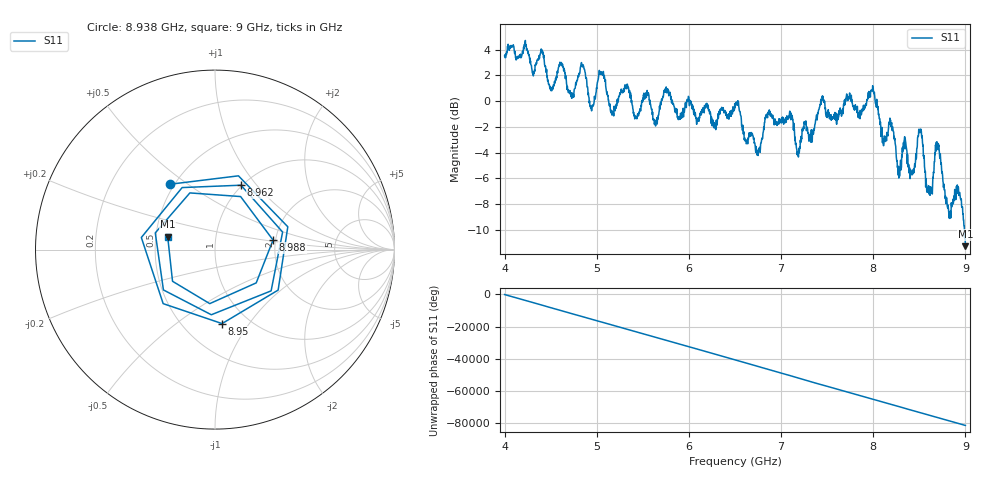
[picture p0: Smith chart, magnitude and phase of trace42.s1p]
! Created with skrf 1.8.0 (http://scikit-rf.org).
# Hz S RI R 50.0
!freq ReS11 ImS11
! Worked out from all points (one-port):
!   1601 points, 4 GHz to 9 GHz, reference 50 ohm
!   lowest |S11| = -11.3 dB at 9 GHz (marker M1), VSWR 1.75, Z = 28.9 + j4.5 ohm
!   |S11| at or under -10 dB: 8.989025 GHz to end of sweep
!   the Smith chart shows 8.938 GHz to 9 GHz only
!   S11 on the Smith chart (normalised r, x): 8.938 GHz: 0.47, +0.43; 8.95 GHz: 0.76, -0.75; 8.962 GHz: 0.99, +0.83; 8.988 GHz: 1.94, +0.23; 9 GHz: 0.58, +0.09
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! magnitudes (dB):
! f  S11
! 4 GHz  3.5
! 4.625 GHz  2.7
! 4.728 GHz  0.2
! 4.85 GHz  2.7
! 4.944 GHz  -0.8
! 5.047 GHz  2.2
! 5.159 GHz  -0.7
! 5.25 GHz  0.7
! 5.875 GHz  -1.3
! 6.5 GHz  -0.5
! 6.747 GHz  -3.9
! 6.856 GHz  -0.9
! 7.125 GHz  -1.4
! 7.181 GHz  -4.2
! 7.447 GHz  0.4
! 7.75 GHz  0.3
! 7.991 GHz  0.8
! 8.109 GHz  -3.4
! 8.375 GHz  -4.5
! 8.506 GHz  -2.2
! 8.594 GHz  -7.1
! 8.694 GHz  -3.2
! 8.819 GHz  -8.6
! 8.938 GHz  -7.1
! 8.95 GHz  -7.7
! 8.962 GHz  -8.2
! 8.988 GHz  -9.7
! 9 GHz  -11.3
